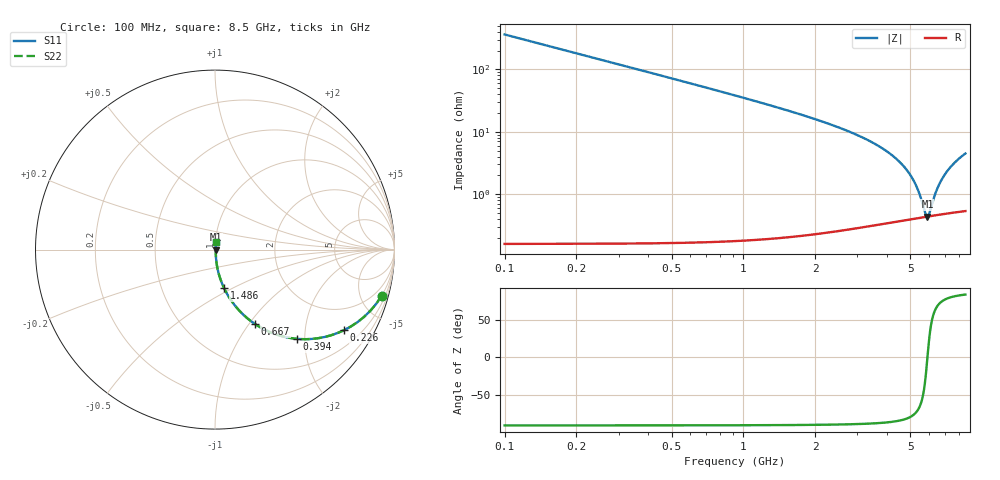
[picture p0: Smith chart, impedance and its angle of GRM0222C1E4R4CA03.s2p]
!Murata Part Number: GRM0222C1E4R4CA03
!These Parameters are Measured in Series Mode Connection
!Data Generated on Mar 30, 2021
!  o--ll--o
!Port1  Port2
!  o------o
!Operation Temp=25[degC], DC Bias Voltage=0[V]
!Freq. Start=100[MHz] Stop=9[GHz] 401[Steps]
# Hz S RI R 50
!Freq.(Hz) S11(Real) S11(Imag) S21(Real) S21(Imag) S12(Real) S12(Imag) S22(Real) S22(Imag)
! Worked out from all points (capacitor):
!   401 points, 100 MHz to 8.5 GHz, reference 50 ohm
!   read as one part in series: C = 4.4 pF near 142 MHz
!   lowest |Z| = 440 mohm at 5.896 GHz (marker M1)
!   series resonance near 5.895 GHz, so ESL is about 170 pH
!   S11 on the Smith chart (normalised r, x): 100 MHz: 1.00, -7.23; 226 MHz: 1.00, -3.20; 394 MHz: 1.00, -1.83; 667 MHz: 1.00, -1.07; 1.486 GHz: 1.00, -0.45; 8.5 GHz: 1.01, +0.09
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1e8  0.9289 -0.2568  0.0711 0.2568  0.0711 0.2568  0.9289 -0.2568
2.26e8  0.7184 -0.4493  0.2816 0.4493  0.2816 0.4493  0.7184 -0.4493
3.94e8  0.4551 -0.4971  0.5449 0.4971  0.5449 0.4971  0.4551 -0.4971
5.2e8  0.3229 -0.4664  0.6771 0.4664  0.6771 0.4664  0.3229 -0.4664
6.67e8  0.2233 -0.4148  0.7767 0.4148  0.7767 0.4148  0.2233 -0.4148
9.82e8  0.1146 -0.3161  0.8854 0.3161  0.8854 0.3161  0.1146 -0.3161
1.486e9  0.0508 -0.2153  0.9492 0.2153  0.9492 0.2153  0.0508 -0.2153
1.507e9  0.0494 -0.2122  0.9506 0.2122  0.9506 0.2122  0.0494 -0.2122
2.914e9  0.0113 -0.0917  0.9887 0.0917  0.9887 0.0917  0.0113 -0.0917
4.3e9  0.00508 -0.0384  0.9949 0.0384  0.9949 0.0384  0.00508 -0.0384
4.762e9  0.0045 -0.0257  0.9955 0.0257  0.9955 0.0257  0.0045 -0.0257
5.14e9  0.0043 -0.0164  0.9957 0.0164  0.9957 0.0164  0.0043 -0.0164
5.434e9  0.00426 -0.00972  0.9957 0.00972  0.9957 0.00972  0.00426 -0.00972
5.707e9  0.00431 -0.00386  0.9957 0.00386  0.9957 0.00386  0.00431 -0.00386
5.812e9  0.00435 -0.00168  0.9957 0.00168  0.9957 0.00168  0.00435 -0.00168
5.896e9  0.00438 2.79e-05  0.9956 -2.79e-05  0.9956 -2.79e-05  0.00438 2.79e-05
6.001e9  0.00444 0.00213  0.9956 -0.00213  0.9956 -0.00213  0.00444 0.00213
6.274e9  0.00461 0.00742  0.9954 -0.00742  0.9954 -0.00742  0.00461 0.00742
6.505e9  0.00479 0.0117  0.9952 -0.0117  0.9952 -0.0117  0.00479 0.0117
7.114e9  0.00539 0.0224  0.9946 -0.0224  0.9946 -0.0224  0.00539 0.0224
7.723e9  0.00616 0.0323  0.9938 -0.0323  0.9938 -0.0323  0.00616 0.0323
8.5e9  0.00731 0.044  0.9927 -0.044  0.9927 -0.044  0.00731 0.044
